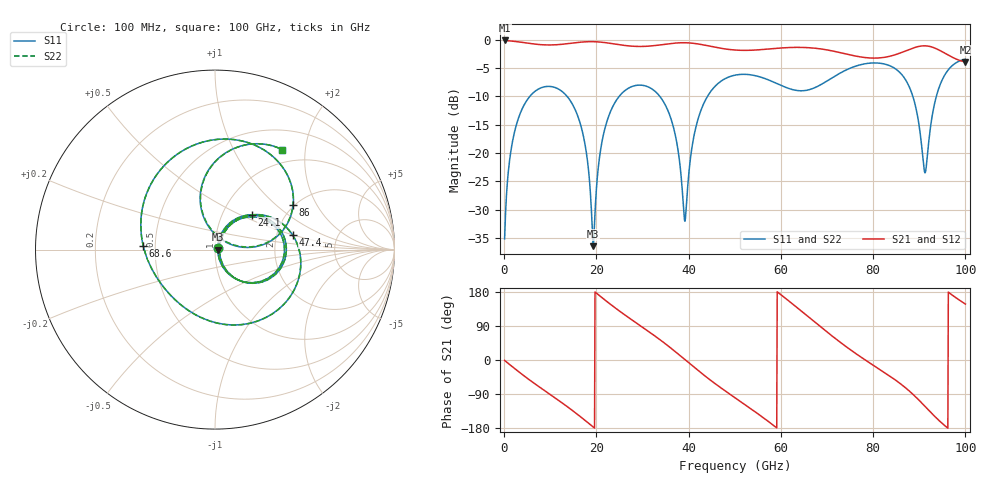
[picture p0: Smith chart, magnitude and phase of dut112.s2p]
! Touchstone file exported from HFSS 2026.1.0
!  File:  C:/ffzhzh/LocalFiles/Ansys_Project_Files/temp_train_TSV_RDL_112_1783635211_33328.aedt
!  Generated:  06:20:51 AM Jul 10, 2026
!  Design:  TSV_RDL
!  Project:  temp_train_TSV_RDL_112_1783635211_33328
! Variables:
!  h_bsmrdl = 2.48um
!  h_ox = 20um
!  h_rdl = 5um
!  h_sub = 65.06um
!  h_tmrdl = 2.33um
!  h_tsv = 65.06um
!  h_via = 3um
!  l_bsmrdl = 457.56um
!  l_sub = 3068.21um
!  l_tmrdl = 284.23um
!  m_sub = 200um
!  pitch = 46.81um
!  r_tsv = 14.01um
!  s_tmrdl = 10um
!  w_bsmrdl = 23.17um
!  w_sub = 500um
!  w_tmrdl = 29.7um
!  x_tsv_center1 = 299.08um
!  x_tsv_center2 = 779.81um
!  x_tsv_center3 = 1093.74um
!  x_tsv_center4 = 1574.47um
!  x_tsv_center5 = 1888.4um
!  x_tsv_center6 = 2369.13um
# GHz S MA R 50.000000
! Terminal data exported
! Port[1] = TM_RDL1_1_T1
! Port[2] = TM_RDL5_1_T1
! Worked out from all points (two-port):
!   1000 points, 100 MHz to 100 GHz, reference 50 ohm
!   highest |S21| = -0.14 dB at 100 MHz (marker M1); lowest = -3.9 dB at 100 GHz (marker M2)
!   |S21| within 3 dB of the highest: start of sweep to 78.07 GHz; 82.26 GHz to 97.25 GHz (14.99 GHz wide, 16.7 % of centre)
!   lowest |S11| = -36.4 dB at 19.3 GHz (marker M3), VSWR 1.03, Z = 51.5 - j0.12 ohm
!   |S11| at or under -10 dB: start of sweep to 5.574 GHz; 13.64 GHz to 24.94 GHz (11.3 GHz wide, 58.6 % of centre); 33.75 GHz to 44.09 GHz (10.34 GHz wide, 26.6 % of centre) (the widest 3 of 4)
!   |S22| runs from -36.1 to -3.5 dB; largest |S21 - S12| = 6.3e-14
!   S11 on the Smith chart (normalised r, x): 100 MHz: 1.03, +0.02; 24.1 GHz: 1.38, +0.58; 47.4 GHz: 2.46, +0.49; 68.6 GHz: 0.43, +0.02; 86 GHz: 1.96, +1.32; 100 GHz: 0.78, +1.59
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0.1  0.0175 27.1  0.9845 -1.1  0.9845 -1.1  0.0175 27.1
! Gamma 0 0 0 0
! Port Impedance 50 0 50 0
1.9  0.1319 61.6  0.9697 -18.9  0.9697 -18.9  0.1318 61.6
5.5  0.3136 33.6  0.9269 -52.6  0.9269 -52.6  0.3136 33.6
11.4  0.3732 -14.8  0.9031 -103.1  0.9031 -103.1  0.3732 -14.7
16.8  0.1643 -59.6  0.9526 -152.1  0.9526 -152.1  0.1642 -59.4
19.3  0.01506 -4.4  0.9606 -176.7  0.9606 -176.7  0.0157 -3.7
21.2  0.125 66.0  0.9496 164.6  0.9496 164.6  0.1252 65.8
24.1  0.2822 43.3  0.9141 137.3  0.9141 137.3  0.2823 43.1
33.4  0.3287 -32.1  0.8949 57.0  0.8949 57.0  0.3288 -32.1
39.2  0.025 2.8  0.9399 1.0  0.9399 1.0  0.0259 2.5
42.1  0.2032 54.0  0.9162 -28.2  0.9162 -28.2  0.2032 53.6
47.4  0.4407 10.5  0.8346 -77.1  0.8346 -77.1  0.4408 10.3
50.1  0.4869 -11.2  0.8103 -100.0  0.8103 -100.0  0.4869 -11.5
59.2  0.409 -88.3  0.84 179.9  0.84 179.9  0.4091 -88.7
66.7  0.3681 -163.0  0.8459 106.6  0.8459 106.6  0.3684 -163.4
68.6  0.3998 177.3  0.8295 87.7  0.8295 87.7  0.4001 177.0
75.2  0.5642 114.5  0.7312 25.9  0.7312 25.9  0.5645 114.5
83.4  0.5936 50.5  0.7108 -40.7  0.7108 -40.7  0.5938 50.7
86  0.5032 29.9  0.7665 -63.4  0.7665 -63.4  0.5034 30.2
91.3  0.06711 61.7  0.8825 -123.0  0.8825 -123.0  0.07002 61.5
94.5  0.3989 98.9  0.8021 -162.1  0.8021 -162.1  0.3991 98.5
100  0.6715 56.1  0.6363 147.7  0.6363 147.7  0.6713 56.1
